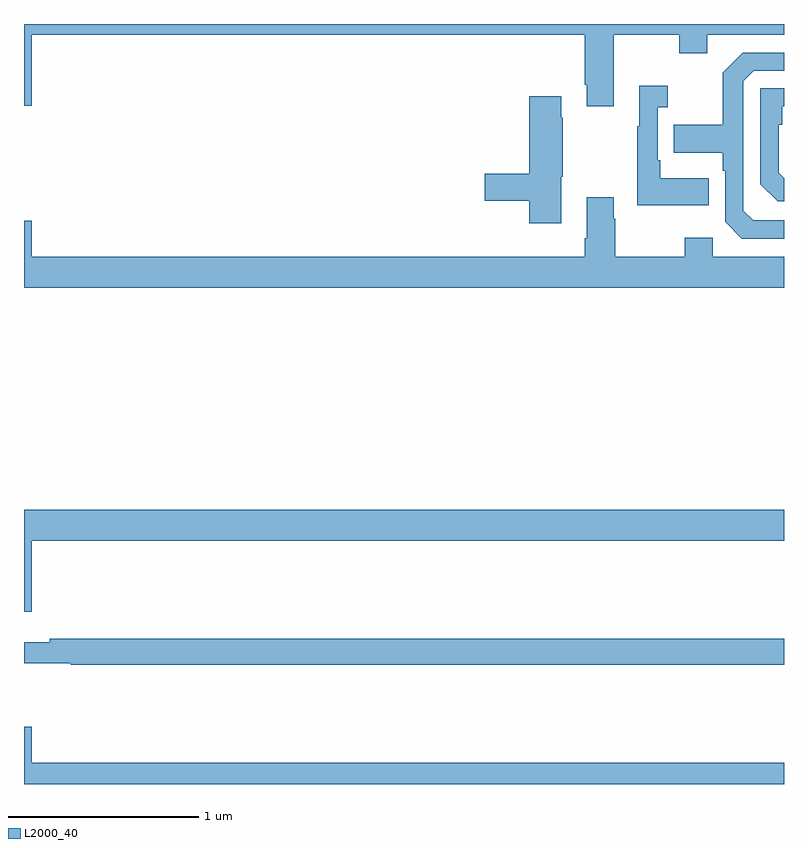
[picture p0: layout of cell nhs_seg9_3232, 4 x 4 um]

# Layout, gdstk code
import gdstk
lib = gdstk.Library(unit=1e-6, precision=1e-09)
def P(c, l, *ps):  # polygons
    for p in ps: c.add(gdstk.Polygon(p, *l))
L2000_40 = (2000, 40)

nhs_seg9_3232 = lib.new_cell('nhs_seg9_3232')
P(nhs_seg9_3232, L2000_40, [(300.103,1172.444),(300.448,1172.444),(300.448,1172.345),(300.595,1172.345),(300.595,1172.444),(301,1172.444),(301,1172.5),(297,1172.5),(297,1172.07),(297.04,1172.07),(297.04,1172.444),(299.951,1172.444),(299.951,1172.179),(299.963,1172.179),(299.963,1172.067),(300.103,1172.067)],
  [(301,1171.467),(300.837,1171.467),(300.786,1171.518),(300.786,1172.199),(300.84,1172.253),(301,1172.253),(301,1172.349),(300.783,1172.349),(300.678,1172.243),(300.678,1171.971),(300.421,1171.971),(300.421,1171.823),(300.678,1171.823),(300.678,1171.727),(300.69,1171.727),(300.69,1171.458),(300.777,1171.371),(301,1171.371)],
  [(300.605,1171.687),(300.349,1171.687),(300.349,1171.783),(300.336,1171.783),(300.336,1172.063),(300.388,1172.063),(300.388,1172.176),(300.239,1172.176),(300.239,1171.963),(300.228,1171.963),(300.228,1171.547),(300.605,1171.547)],
  [(301,1171.688),(300.972,1171.716),(300.972,1171.97),(300.992,1171.97),(300.992,1172.067),(301,1172.067),(301,1172.163),(300.876,1172.163),(300.876,1171.656),(300.966,1171.566),(301,1171.566)],
  [(299.827,1171.695),(299.835,1171.695),(299.835,1172.006),(299.827,1172.006),(299.827,1172.119),(299.66,1172.119),(299.66,1171.712),(299.424,1171.712),(299.424,1171.57),(299.66,1171.57),(299.66,1171.452),(299.827,1171.452)],
  [(301,1171.276),(300.624,1171.276),(300.624,1171.375),(300.478,1171.375),(300.478,1171.276),(300.111,1171.276),(300.111,1171.475),(300.103,1171.475),(300.103,1171.588),(299.963,1171.588),(299.963,1171.372),(299.951,1171.372),(299.951,1171.276),(297.04,1171.276),(297.04,1171.465),(297,1171.465),(297,1171.112),(301,1171.112)],
  [(297.04,1169.78),(301,1169.78),(301,1169.944),(297,1169.944),(297,1169.406),(297.04,1169.406)],
  [(301,1169.264),(297.136,1169.264),(297.136,1169.245),(297,1169.245),(297,1169.136),(297.245,1169.136),(297.245,1169.128),(301,1169.128)],
  [(301,1168.612),(297.04,1168.612),(297.04,1168.801),(297,1168.801),(297,1168.5),(301,1168.5)])

lib.write_gds('nhs_seg9_3232.gds')
